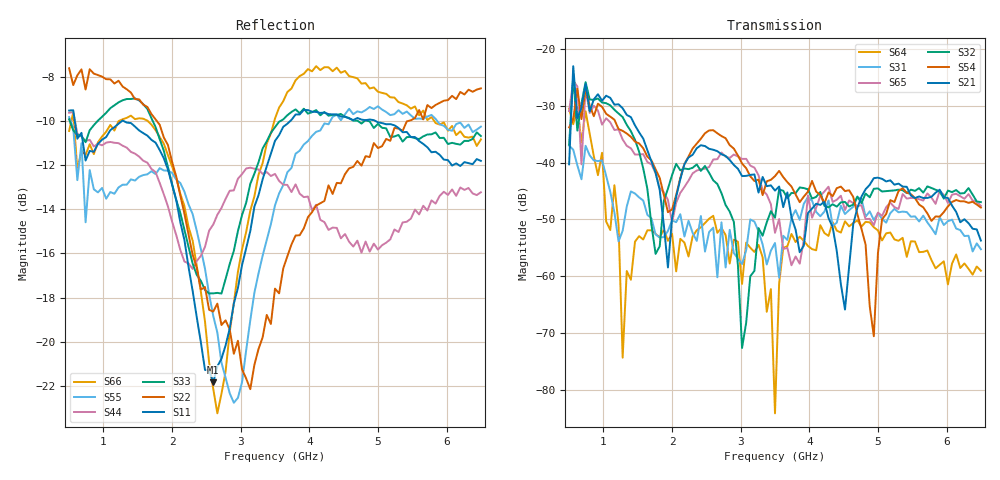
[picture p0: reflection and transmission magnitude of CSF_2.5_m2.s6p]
!Keysight Technologies,M9804A,MY58100912,A.14.10.03
!Date: Thursday, April 27, 2023 10:28:33
!Correction: S11(C  6-Port  )
!S12(C  6-Port  )
!S13(C  6-Port  )
!S14(C  6-Port  )
!S15(C  6-Port  )
!S16(C  6-Port  )
!S21(C  6-Port  )
!S22(C  6-Port  )
!S23(C  6-Port  )
!S24(C  6-Port  )
!S25(C  6-Port  )
!S26(C  6-Port  )
!S31(C  6-Port  )
!S32(C  6-Port  )
!S33(C  6-Port  )
!S34(C  6-Port  )
!S35(C  6-Port  )
!S36(C  6-Port  )
!S41(C  6-Port  )
!S42(C  6-Port  )
!S43(C  6-Port  )
!S44(C  6-Port  )
!S45(C  6-Port  )
!S46(C  6-Port  )
!S51(C  6-Port  )
!S52(C  6-Port  )
!S53(C  6-Port  )
!S54(C  6-Port  )
!S55(C  6-Port  )
!S56(C  6-Port  )
!S61(C  6-Port  )
!S62(C  6-Port  )
!S63(C  6-Port  )
!S64(C  6-Port  )
!S65(C  6-Port  )
!S66(C  6-Port  )
!S6P File: Measurement: :
# Hz S  RI  R 50
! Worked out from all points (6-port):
!   101 points, 500 MHz to 6.5 GHz, reference 50 ohm
!   strongest paths, dB at 500 MHz, 2 GHz, 3.5 GHz, 5 GHz, 6.5 GHz:
!     S21: -40.3, -49.8, -44.9, -42.6, -53.7
!     S54: -33.8, -48.2, -42.4, -55.9, -47.9
!     S32: -36.8, -42.2, -49.7, -44.5, -46.9
!     S65: -30.9, -50.5, -52.3, -48.8, -47.6
!     S31: -37.0, -50.2, -54.1, -48.9, -55.2
!     S64: -30.5, -52.5, -84.1, -51.9, -59.0
!   lowest |S11| = -21.8 dB at 2.6 GHz (marker M1), VSWR 1.18, Z = 42.7 + j1.93 ohm
!   |S11| at or under -10 dB: 582.7 MHz to 1.27 GHz (687.7 MHz wide, 74.2 % of centre); 1.295 GHz to 3.722 GHz (2.427 GHz wide, 96.7 % of centre); 4.965 GHz to end of sweep
